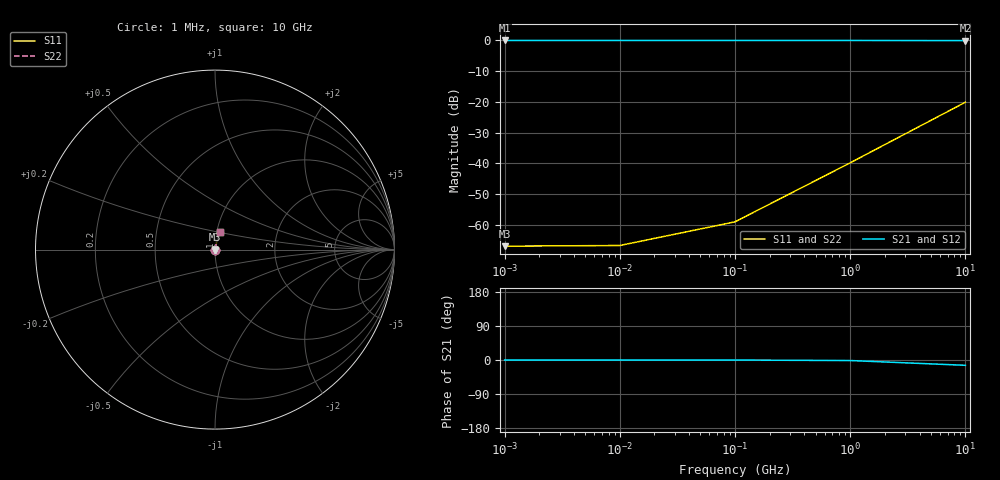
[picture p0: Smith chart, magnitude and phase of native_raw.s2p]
! Sonnet Data File
! From: em Version : 18.53-Lite
! From Project: project
! Data is NOT De-embedded
! Data File Written: 10/12/2026 22:05:36
!< HDATE 10/12/2026 22:05:36
!< MDATE 10/12/2026 22:05:36
# GHZ S RI R 50.00000
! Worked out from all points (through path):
!   5 points, 1 MHz to 10 GHz, reference 50 ohm
!   highest |S21| = 0.00 dB at 1 MHz (marker M1); lowest = -0.1 dB at 10 GHz (marker M2)
!   lowest |S11| = -66.9 dB at 1 MHz (marker M3), VSWR 1.00, Z = 50 + j0.00104 ohm
!   |S11| at or under -10 dB: start of sweep to end of sweep
!   |S22| runs from -66.9 to -20.1 dB; largest |S21 - S12| = 6.9e-13
0.001  0.000451 1.04e-05  0.9995 -2.49e-05  0.9995 -2.49e-05  0.000451 1.04e-05
0.01  0.000451 0.000103  0.9995 -0.000248  0.9995 -0.000248  0.000451 0.000103
0.1  0.000455 0.00103  0.9995 -0.00248  0.9995 -0.00248  0.000455 0.00103
1  0.000767 0.0102  0.9991 -0.0247  0.9991 -0.0247  0.000767 0.0102
10  0.0255 0.0955  0.9639 -0.2406  0.9639 -0.2406  0.0255 0.0955
